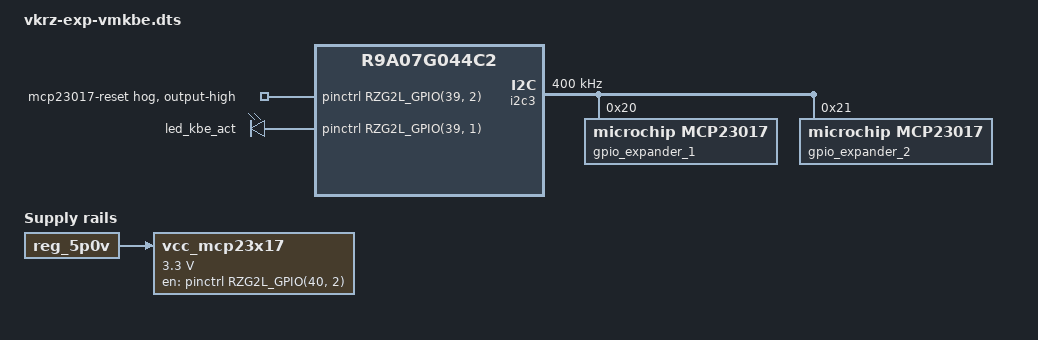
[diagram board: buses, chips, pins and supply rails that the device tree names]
/*
 * Copyright 2026 Vekatech
 *
 * This program is free software; you can redistribute it and/or
 * modify it under the terms of the GNU General Public License
 * as published by the Free Software Foundation; either version 2
 * of the License, or (at your option) any later version.
 *
 * This program is distributed in the hope that it will be useful,
 * but WITHOUT ANY WARRANTY; without even the implied warranty of
 * MERCHANTABILITY or FITNESS FOR A PARTICULAR PURPOSE. See the
 * GNU General Public License for more details.
 */

#define I2C	1
#define SPI	0


/dts-v1/;
/plugin/;

#include <dt-bindings/pinctrl/rzg2l-pinctrl.h>
#include <dt-bindings/gpio/gpio.h>

/ {
	compatible = "vekatech,vkrzg2lc", "renesas,r9a07g044", "renesas,r9a07g044c2";
};

#if 1

&{/} {
	vcc_mcp23x17: regulator-mcp23x17 {
		compatible = "regulator-fixed";
		regulator-name = "vcc-mcp23x17";

		regulator-min-microvolt = <3300000>;
		regulator-max-microvolt = <3300000>;

		gpio = <&pinctrl RZG2L_GPIO(40, 2) GPIO_ACTIVE_HIGH>;
		enable-active-high;

		startup-delay-us = <50000>;

		/*
		 * Keep the expander supply enabled throughout operation.
		 */
		regulator-always-on;
		regulator-boot-on;
        vin-supply = <&reg_5p0v>;
	};

};

#else 

&pinctrl {
	mcp23017_power_enable {
		gpio-hog;
		gpios = <RZG2L_GPIO(40, 2) GPIO_ACTIVE_HIGH>;
		output-high;
		line-name = "mcp23017-power-enable";
	};
};

#endif

&pinctrl {
	mcp23017_reset_deassert {
		gpio-hog;
		gpios = <RZG2L_GPIO(39, 2) GPIO_ACTIVE_HIGH>;
		output-high;
		line-name = "mcp23017-reset";
	};
};

&leds {
		pinctrl-names = "default";
		led_kbe_act {
			gpios = <&pinctrl RZG2L_GPIO(39, 1) GPIO_ACTIVE_HIGH>;
			default-state = "off";
		};
};

#if I2C
 
&pinctrl {
	i2c3_pins: i2c3 {
		pinmux = <RZG2L_PORT_PINMUX(18, 0, 3)>, /* SDA */
			 <RZG2L_PORT_PINMUX(18, 1, 3)>; /* SCL */
	};
};

&i2c3 {
	pinctrl-0 = <&i2c3_pins>;
	pinctrl-names = "default";
	clock-frequency = <400000>;
	status = "okay";

	#address-cells = <1>;
	#size-cells = <0>;

	gpio_expander_1: gpio@20 {
		compatible = "microchip,mcp23017";
		reg = <0x20>;

		/*reset-gpios = <&pinctrl RZG2L_GPIO(39, 2) GPIO_ACTIVE_LOW>;*/

		gpio-controller;
		#gpio-cells = <2>;

		gpio-line-names =
			"P1",  "P2",  "P3",  "P4",
			"P5",  "P6",  "P7",  "P8",
			"P9",  "P10", "P11", "P12",
			"P13", "P14", "P15", "P16";

		status = "okay";
	};

	gpio_expander_2: gpio@21 {
		compatible = "microchip,mcp23017";
		reg = <0x21>;

        /*reset-gpios = <&pinctrl RZG2L_GPIO(39, 2) GPIO_ACTIVE_LOW>;*/

		gpio-controller;
		#gpio-cells = <2>;

		gpio-line-names =
			"P17", "P18", "P19", "P20",
			"P21", "P22", "P23", "P24",
			"P25", "P26", "P27", "P28",
			"P29", "P30", "P31", "P32";

		status = "okay";
	};
};
#endif

#if SPI

&pinctrl {
	spi1_pins: spi1 {
		pinmux = <RZG2L_PORT_PINMUX(44, 0, 1)>, /* CK */
			 <RZG2L_PORT_PINMUX(44, 1, 1)>, /* MOSI */
			 <RZG2L_PORT_PINMUX(44, 2, 1)>, /* MISO */
			 <RZG2L_PORT_PINMUX(44, 3, 1)>; /* SSL */
	};

&spi1 {
	pinctrl-0 = <&spi1_pins>;
	pinctrl-names = "default";

	status = "okay";

	gpio_expanders: gpio@0 {
		compatible = "microchip,mcp23s17";
		gpio-controller;
		#gpio-cells = <2>;


		/* SPI1 chip-select 0 */
		reg = <0>;

		spi-max-frequency = <10000000>;

		/*
		 * MCP23S17 hardware addresses present on this CS:
		 *
		 * bit 0 = A2:A0 = 000, equivalent to I2C 0x20
		 * bit 1 = A2:A0 = 001, equivalent to I2C 0x21
		 */
		microchip,spi-present-mask = <0x03>;

		/* Shared reset for both physical devices. */
		reset-gpios = <&pinctrl RZG2L_GPIO(39, 2) GPIO_ACTIVE_LOW>;
	};
};



};


#endif
